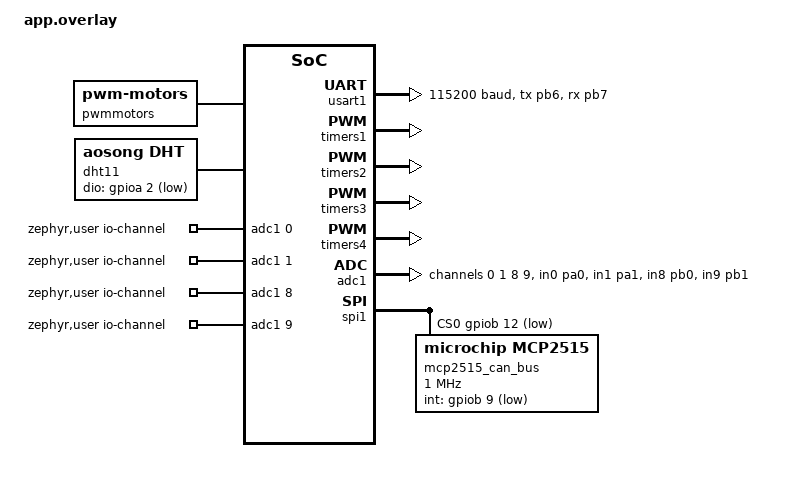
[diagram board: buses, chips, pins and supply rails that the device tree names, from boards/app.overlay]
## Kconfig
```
# Private config options for can sample app

# Copyright (c) 2018 Alexander Wachter
# SPDX-License-Identifier: Apache-2.0

mainmenu "Controller Area Network sample application"

config LOOPBACK_MODE
	bool "Loopback LOOPBACK_MODE"
	default n
	help
	  Set the controller to loopback mode.
	  This allows testing without a second board.
config TX_MODE
	bool "Transfer TX_MODE"
	default y
	help
	  Deactivate the transfer thread.

source "Kconfig.zephyr"
```

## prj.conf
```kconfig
CONFIG_SENSOR=y
CONFIG_ADC=y
CONFIG_PWM=y
CONFIG_GPIO=y

CONFIG_CAN=y
CONFIG_CAN_INIT_PRIORITY=80
CONFIG_CAN_MAX_FILTER=5
CONFIG_LOOPBACK_MODE=n

# CONFIG_SHELL=y
# CONFIG_CAN_SHELL=y
# CONFIG_DEVICE_SHELL=y


# CONFIG_STATS=y
# CONFIG_STATS_NAMES=y
# CONFIG_STATS_SHELL=y
# CONFIG_CAN_STATS=y

# CONFIG_CONSOLE=y
# CONFIG_RAM_CONSOLE=y
# CONFIG_RAM_CONSOLE_BUFFER_SIZE=1024
# CONFIG_USE_SEGGER_RTT=y
# CONFIG_RTT_CONSOLE=y

CONFIG_TX_MODE=y
CONFIG_CANARD=y
CONFIG_KYVERNITIS=y
CONFIG_LOG=y
```

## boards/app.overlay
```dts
/ {	
	pwmmotors {
		compatible = "pwm-motors";
		pwm_motor_1: pwm_1 {
			pwms = <&pwm1 2 PWM_MSEC(20) (PWM_POLARITY_NORMAL)>;
			min-pulse = <PWM_USEC(1120)>;
			max-pulse = <PWM_USEC(1920)>;
		};
		pwm_motor_2: pwm_2 {
			pwms = <&pwm2 1 PWM_MSEC(20) (PWM_POLARITY_NORMAL)>;
			min-pulse = <PWM_USEC(1120)>;
			max-pulse = <PWM_USEC(1920)>;
		};

		pwm_servo_1: pwm_3 {
			pwms = <&pwm3 2 PWM_MSEC(20) (PWM_POLARITY_NORMAL)>;
			min-pulse = <PWM_USEC(600)>;
			max-pulse = <PWM_USEC(2400)>;
		};

		pwm_servo_2: pwm_4 {
			pwms = <&pwm4 3 PWM_MSEC(20) (PWM_POLARITY_NORMAL)>;
			min-pulse = <PWM_USEC(600)>;
			max-pulse = <PWM_USEC(2400)>;
		};
	};

	dht11: dh22 {
		compatible = "aosong,dht";
		status="okay";
		dio-gpios = <&gpioa 2 (GPIO_PULL_UP | GPIO_ACTIVE_LOW)>;
	};

	zephyr,user {
		io-channels = <&adc1 0>, <&adc1 1>, <&adc1 8>, <&adc1 9>;
	};

	aliases {
		pwm-motor1 = &pwm_motor_1;
		pwm-motor2 = &pwm_motor_2;
		pwm-servo1 = &pwm_servo_1;
		pwm-servo2 = &pwm_servo_2;
		dht-11 = &dht11;
	};

	chosen {
		zephyr,canbus = &mcp2515_can_bus;
	};

};

&usart1 {
	pinctrl-0 = <&usart1_tx_pb6 &usart1_rx_pb7>;
	pinctrl-names = "default";
	status = "okay";
	current-speed = <115200>;
};

&timers1 {
	status = "okay";
	st,prescaler = <1679>;

	pwm1: pwm {
		status = "okay";
		pinctrl-0 = <&tim1_ch2_pa9>; 
		pinctrl-names = "default";
	};	
};

&timers2 {
	status = "okay";
	st,prescaler = <1679>;

	pwm2: pwm {
		status = "okay";
		pinctrl-0 = <&tim2_ch1_pa15>;
		pinctrl-names = "default";
	};
};

&timers3 {
	status = "okay";
	st,prescaler = <1679>;

	pwm3: pwm {
		status = "okay";
		pinctrl-0 = <&tim3_ch2_pb5>;
		pinctrl-names = "default";
	};
};

&timers4 {
	status = "okay";
	st,prescaler = <1679>;

	pwm4: pwm {
		status = "okay";
		pinctrl-0 = <&tim4_ch3_pb8>;
		pinctrl-names = "default";
	};
};

&adc1 {
	pinctrl-0 = <&adc1_in0_pa0 &adc1_in1_pa1 &adc1_in8_pb0 &adc1_in9_pb1>;
	pinctrl-names = "default";
	#address-cells = <1>;
	#size-cells = <0>;

	channel@0 {
		reg = <0>;
		zephyr,gain = "ADC_GAIN_1";
		zephyr,reference = "ADC_REF_INTERNAL";
		zephyr,acquisition-time = <ADC_ACQ_TIME_DEFAULT>;
		zephyr,resolution = <12>;
	};

	channel@1 {
		reg = <1>;
		zephyr,gain = "ADC_GAIN_1";
		zephyr,reference = "ADC_REF_INTERNAL";
		zephyr,acquisition-time = <ADC_ACQ_TIME_DEFAULT>;
		zephyr,resolution = <12>;
	};

	channel@8 {
		reg = <8>;
		zephyr,gain = "ADC_GAIN_1";
		zephyr,reference = "ADC_REF_INTERNAL";
		zephyr,acquisition-time = <ADC_ACQ_TIME_DEFAULT>;
		zephyr,resolution = <12>;
	};

	channel@9 {
		reg = <9>;
		zephyr,gain = "ADC_GAIN_1";
		zephyr,reference = "ADC_REF_INTERNAL";
		zephyr,acquisition-time = <ADC_ACQ_TIME_DEFAULT>;
		zephyr,resolution = <12>;
	};
};

&spi1 {
	status = "okay";
	cs-gpios = <&gpiob 12 GPIO_ACTIVE_LOW>;	
	mcp2515_can_bus: can@0 {
		compatible = "microchip,mcp2515";
		spi-max-frequency = <1000000>;
		int-gpios = <&gpiob 9 GPIO_ACTIVE_LOW>; /* B9 */
		status = "okay";
		reg = <0x0>;
		osc-freq = <8000000>;
		bus-speed = <800000>;
		sjw = <1>;
		sample-point = <875>;

		can-transceiver {
			max-bitrate = <1000000>;
		};
	};
};
```

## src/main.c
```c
/*
 * Source file for Bio Arm Application
 */


#include <zephyr/device.h>
#include <zephyr/devicetree.h>
#include <zephyr/drivers/gpio.h>
#include <zephyr/drivers/adc.h>
#include <zephyr/drivers/pwm.h>
#include <zephyr/drivers/can.h>
#include <zephyr/drivers/sensor.h>
#include <zephyr/kernel.h>
#include <zephyr/sys/printk.h>
#include <zephyr/sys/util.h>
#include <zephyr/logging/log.h>
#include <app_version.h>

#include <kycan.h>
#include <kyvernitis.h>

#define ROBOCLAWS_COUNT 2
#define SERVOS_COUNT 2
#define TX_THREAD_STACK_SIZE 512
#define TX_THREAD_PRIORITY 2

LOG_MODULE_REGISTER(main, CONFIG_LOG_DEFAULT_LEVEL);
CAN_MSGQ_DEFINE(rx_msgq, 10);

#ifdef CONFIG_TX_MODE

#define TX_THREAD_STACK_SIZE 512
#define TX_THREAD_PRIORITY 2

K_THREAD_STACK_DEFINE(tx_thread_stack, TX_THREAD_STACK_SIZE);

#endif

#if !DT_NODE_EXISTS(DT_PATH(zephyr_user)) || \
	!DT_NODE_HAS_PROP(DT_PATH(zephyr_user), io_channels)
#error "No suitable devicetree overlay specified"
#endif

#define DT_SPEC_AND_COMMA(node_id, prop, idx) \
	ADC_DT_SPEC_GET_BY_IDX(node_id, idx),

/* DT spec for adc channels */
static const struct adc_dt_spec adc_channels[] = {
	DT_FOREACH_PROP_ELEM(DT_PATH(zephyr_user), io_channels,
			     DT_SPEC_AND_COMMA)
};

/* DT spec for led*/
static const struct gpio_dt_spec led = GPIO_DT_SPEC_GET(DT_ALIAS(led0), gpios);

/* DT spec for roboclaws*/
struct pwm_motor roboclaw[ROBOCLAWS_COUNT] = {
	{
		.dev_spec = PWM_DT_SPEC_GET(DT_ALIAS(pwm_motor1)),
		.min_pulse = DT_PROP(DT_ALIAS(pwm_motor1), min_pulse),
		.max_pulse = DT_PROP(DT_ALIAS(pwm_motor1), max_pulse)
	},
	{
		.dev_spec = PWM_DT_SPEC_GET(DT_ALIAS(pwm_motor2)),
		.min_pulse = DT_PROP(DT_ALIAS(pwm_motor2), min_pulse),
		.max_pulse = DT_PROP(DT_ALIAS(pwm_motor2), max_pulse)
	}
};

/* DT spec for servos*/
struct pwm_motor servo[SERVOS_COUNT] = {
	{
		.dev_spec = PWM_DT_SPEC_GET(DT_ALIAS(pwm_servo1)),
		.min_pulse = DT_PROP(DT_ALIAS(pwm_servo1), min_pulse),
		.max_pulse = DT_PROP(DT_ALIAS(pwm_servo1), max_pulse)
	},
	{
		.dev_spec = PWM_DT_SPEC_GET(DT_ALIAS(pwm_servo2)),
		.min_pulse = DT_PROP(DT_ALIAS(pwm_servo2), min_pulse),
		.max_pulse = DT_PROP(DT_ALIAS(pwm_servo2), max_pulse)
	}
};

/* Servo state for servos */
servo_state_t servo_state[SERVOS_COUNT] = {SERVO_DEFAULT_STATE, SERVO_DEFAULT_STATE};

/* DT spec for dht11 sensor */
const struct device *const dht11 = DEVICE_DT_GET(DT_ALIAS(dht_11));

/* DT spec for can module*/
const struct device *const can_dev = DEVICE_DT_GET(DT_CHOSEN(zephyr_canbus));

/*
 * CAN frames and filter for Bio Arm
 */
const struct can_filter bio_arm_filter = {
	.flags = CAN_FILTER_DATA | CAN_FILTER_IDE,
	.id = BIO_ARM_ID,
	.mask = CAN_EXT_ID_MASK
};

struct can_frame bio_arm_rx_frame;

#ifdef CONFIG_TX_MODE

/* Transfer thread */

struct can_frame bio_arm_tx_frame = {
	.flags = CAN_FRAME_IDE,
	.id = LATTEPANDA_ID,
	.dlc = 6,
	.data[4] = SENSOR_DATA_ID
};



struct k_thread tx_thread_data;

void tx_thread(void *unused1, void *unused2, void *unused3)
{
	ARG_UNUSED(unused1);
	ARG_UNUSED(unused2);
	ARG_UNUSED(unused3);

	int err;
	float val;
	uint16_t buf;
	struct adc_sequence sequence = {
		.buffer = &buf,
		/* buffer size in bytes, not number of samples */
		.buffer_size = sizeof(buf),
	};
	
	struct sensor_value temp;
	struct sensor_value humd;

	while (1) {
		for (size_t i = 0U; i < ARRAY_SIZE(adc_channels); i++) {
			int32_t val_mv;

			(void)adc_sequence_init_dt(&adc_channels[i], &sequence);

			err = adc_read_dt(&adc_channels[i], &sequence);
			if (err < 0) {
				LOG_ERR("Could not read (%d)\n", err);
				continue;
			}

			/*
			 * If using differential mode, the 16 bit value
			 * in the ADC sample buffer should be a signed 2's
			 * complement value.
			 */
			if (adc_channels[i].channel_cfg.differential) {
				val_mv = (int32_t)((int16_t)buf);
			} else {
				val_mv = (int32_t)buf;
			}
			
			if (adc_channels[i].channel_id == 0) {
                                val = MQ136_readings(val_mv);
                        } 
			else if (adc_channels[i].channel_id == 1) {
                                val = MQ2_readings(val_mv);
                        } 
			else if (adc_channels[i].channel_id == 8) {
                                val = MQ137_readings(val_mv);
                        } 
			else if (adc_channels[i].channel_id == 9) {
                                val = MQ7_readings(val_mv);
			}
			else {
				continue;
			}

			LOG_INF("Channel:%d = %"PRId32" mV\n", i, (int32_t)val);
			bio_arm_tx_frame.data_32[0] = (uint32_t)val;
			bio_arm_tx_frame.data[5] = (uint8_t)adc_channels[i].channel_id;
			can_send(can_dev, &bio_arm_tx_frame, K_MSEC(100), NULL, NULL);
			LOG_INF("CAN frame sent: ID: %x", bio_arm_tx_frame.id);
			LOG_INF("CAN frame data: %d %d %d", bio_arm_tx_frame.data_32[0],
								bio_arm_tx_frame.data[4],
								bio_arm_tx_frame.data[5]);
			k_sleep(K_SECONDS(1));
			gpio_pin_toggle_dt(&led);
		}

		if(sensor_sample_fetch(dht11)) {
			LOG_ERR("Error fetching dht11 data");
			continue;
		}

		if(sensor_channel_get(dht11, SENSOR_CHAN_AMBIENT_TEMP, &temp)) {
			LOG_ERR("Error fetching dht11 temperature data");
			continue;
		}
		bio_arm_tx_frame.data[5] = 2;
		bio_arm_tx_frame.data_32[0] = (uint32_t)sensor_value_to_float(&temp);
		can_send(can_dev, &bio_arm_tx_frame, K_MSEC(100), NULL, NULL);
		LOG_INF("CAN frame sent: ID: %x", bio_arm_tx_frame.id);
		LOG_INF("CAN frame data: %d %d %d", bio_arm_tx_frame.data_32[0],
							bio_arm_tx_frame.data[4],
							bio_arm_tx_frame.data[5]);

		k_sleep(K_SECONDS(1));
		gpio_pin_toggle_dt(&led);


		if(sensor_channel_get(dht11, SENSOR_CHAN_HUMIDITY, &humd)) {
			LOG_ERR("Error fetching dht11 humidity data");
			continue;
		}
		bio_arm_tx_frame.data[5] = 3;
		bio_arm_tx_frame.data_32[0] = (uint32_t)sensor_value_to_float(&humd);
		can_send(can_dev, &bio_arm_tx_frame, K_MSEC(100), NULL, NULL);
		LOG_INF("CAN frame sent: ID: %x", bio_arm_tx_frame.id);
		LOG_INF("CAN frame data: %d %d %d", bio_arm_tx_frame.data_32[0],
							bio_arm_tx_frame.data[4],
							bio_arm_tx_frame.data[5]);

		k_sleep(K_SECONDS(1));
		gpio_pin_toggle_dt(&led);
	}

	return;
}

#endif


int main(void)
{
	printk("\nBio-arm: v%s\n\n", APP_VERSION_STRING);

	int err;

	/* Device ready checks*/

	if (!device_is_ready(can_dev)) {
		LOG_ERR("CAN: Device %s not ready.", can_dev->name);
		return 0;
	}

	/* Configure channels individually prior to sampling. */
	for (size_t i = 0U; i < ARRAY_SIZE(adc_channels); i++) {
		if (!adc_is_ready_dt(&adc_channels[i])) {
			LOG_ERR("ADC controller device %s not ready\n", adc_channels[i].dev->name);
		}

		err = adc_channel_setup_dt(&adc_channels[i]);
		if (err < 0) {
			LOG_ERR("Could not setup channel #%d (%d)\n", i, err);
		}
	}
	
	if(!device_is_ready(dht11)) {
		LOG_ERR("DHT11 sensor not ready.");
	}

	// check for pwm motor readiness
	for (size_t i = 0U; i < ARRAY_SIZE(roboclaw); i++) {
		if (!pwm_is_ready_dt(&(roboclaw[i].dev_spec))) {
			LOG_ERR("PWM: Roboclaw %s is not ready\n", roboclaw[i].dev_spec.dev->name);
			return 0;
		}
	}

	for (size_t i = 0U; i < ARRAY_SIZE(servo); i++) {
		if (!pwm_is_ready_dt(&(servo[i].dev_spec))) {
			LOG_ERR("PWM: Servo %s is not ready\n", servo[i].dev_spec.dev->name);
			return 0;
		}
	}

	if (!gpio_is_ready_dt(&led))
	{
		LOG_ERR("Error: Led not ready\n");
		return 0;
	}

	if (gpio_pin_configure_dt(&led, GPIO_OUTPUT_ACTIVE) < 0)
	{
		LOG_ERR("Error: Led not configured\n");
		return 0;
	}
	
#ifdef CONFIG_LOOPBACK_MODE
	if (can_set_mode(can_dev, CAN_MODE_LOOPBACK)) {
		LOG_ERR("Error setting CAN mode");
		return 0;
	}
#endif
	if (can_start(can_dev)) {
		LOG_ERR("Error starting CAN controller.\n");
		return 0;
	}

	int filter_id = can_add_rx_filter_msgq(can_dev, &rx_msgq, &bio_arm_filter);
	if (filter_id < 0)
	{
		LOG_ERR("Unable to add rx msgq [%d]", filter_id);
		return 0;
	}

#ifdef CONFIG_TX_MODE

	k_tid_t tx_tid = k_thread_create(&tx_thread_data, tx_thread_stack,
				 K_THREAD_STACK_SIZEOF(tx_thread_stack),
				 tx_thread, NULL, NULL, NULL,
				 TX_THREAD_PRIORITY, 0, K_NO_WAIT);

	if (!tx_tid) {
		LOG_ERR("ERROR spawning tx thread\n");
	}

#endif
	LOG_INF("Initialization completed successfully\n");
	while (true)
	{
		if(k_msgq_get(&rx_msgq, &bio_arm_rx_frame, K_MSEC(1000)))
		{
			LOG_ERR("Message Receive Timeout!!");
			/* Send stop cmd to roboclaw */
			for(size_t i = 0U; i < ARRAY_SIZE(roboclaw); i++) {
				err = pwm_motor_write(&roboclaw[i], PWM_MOTOR_STOP);
				if(err) {
					LOG_ERR("Unable to write pwm pulse to Roboclaw: %d", i + ROBOCLAW_BASE_ID);
					return 0;
				}
			}
			LOG_INF("Stopped roboclaw");

			for(size_t i = 0U; i < ARRAY_SIZE(servo); i++) {
				err = pwm_motor_write(&servo[i], servo_state[i]);
				if(err) {
					LOG_ERR("Unable to write pwm pulse to Servo: %d", i + SERVO_BASE_ID);
					return 0;
				}
			}
			LOG_INF("Set all servo motors to previous state");

			continue;
		}

		struct can_frame frame = bio_arm_rx_frame;

		LOG_INF("CAN frame sent: ID: %d", frame.id);
		LOG_INF("CAN frame data: %d %d %d", frame.data_32[0],
							frame.data[4],
							frame.data[5]);

		if(frame.dlc != 6)
		{
			//just handling motor commands for now
			LOG_ERR("Unknown Frame Received\n");
			continue;
		}

		switch (frame.data[4]) {
		
		case ACTUATOR_COMMAND_ID:
			if (frame.data[5] < ROBOCLAW_BASE_ID + ROBOCLAWS_COUNT)
			{
				// in the case it will only consider from 10 - 11
				if (pwm_motor_write(&roboclaw[frame.data[5] - ROBOCLAW_BASE_ID], frame.data_32[0])) {
					LOG_ERR("Unable to write pwm pulse to PWM motor: %d", frame.data[5]);
					return 0;
				}
			}
			else if (frame.data[5] < SERVO_BASE_ID + SERVOS_COUNT)
			{
				// it will consider from 15 - 19
				if(pwm_motor_write(&servo[frame.data[5] - SERVO_BASE_ID], frame.data_32[0])) {
					LOG_ERR("Unable to write pwm pulse to Servo Motor: %d", frame.data[5]);
					return 0;
				}
				else {
					servo_state[frame.data[5] - SERVO_BASE_ID] = frame.data_32[0];
				}
			}
			break;
		
		case SENSOR_DATA_ID:
			LOG_INF("Received sensor data\n");
			break;
		}
	}
	return 0;
}
```
